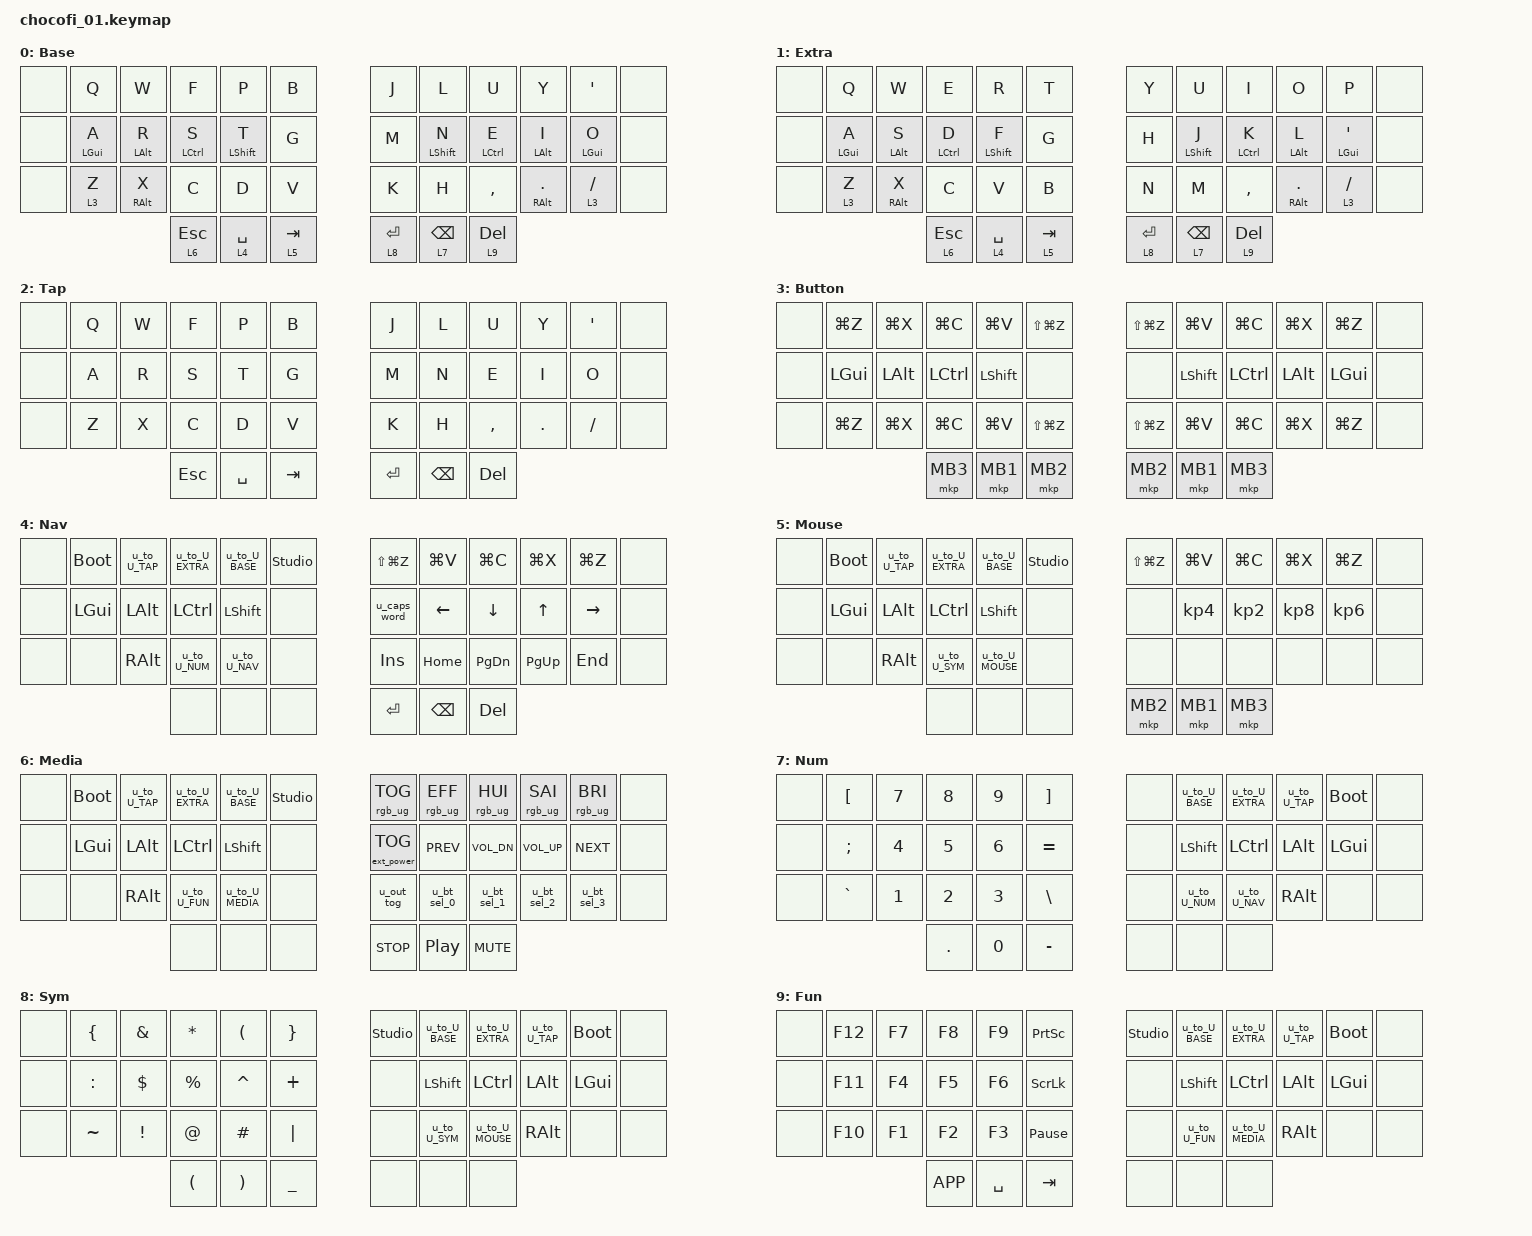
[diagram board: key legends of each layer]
#include <behaviors.dtsi>
#include <dt-bindings/zmk/keys.h>
#include <dt-bindings/zmk/bt.h>
#include <dt-bindings/zmk/outputs.h>
#include <dt-bindings/zmk/ext_power.h>

/ {
  keymap {
    compatible = "zmk,keymap";

    BASE {
      display-name = "Base";
      bindings = <
        &none  &kp Q  &kp W  &kp F  &kp P  &kp B       &kp J  &kp L  &kp U  &kp Y  &kp SQT  &none
        &none  &u_mt LGUI A  &u_mt LALT R  &u_mt LCTRL S  &u_mt LSHFT T  &kp G       &kp M  &u_mt LSHFT N  &u_mt LCTRL E  &u_mt LALT I  &u_mt LGUI O  &none
        &none  &u_lt 3 Z  &u_mt RALT X  &kp C  &kp D  &kp V       &kp K  &kp H  &kp COMMA  &u_mt RALT DOT  &u_lt 3 SLASH  &none
        &u_lt 6 ESC  &u_lt 4 SPACE  &u_lt 5 TAB       &u_lt 8 RET  &u_lt 7 BSPC  &u_lt 9 DEL
      >;
    };

    EXTRA {
      display-name = "Extra";
      bindings = <
        &none  &kp Q  &kp W  &kp E  &kp R  &kp T       &kp Y  &kp U  &kp I  &kp O  &kp P  &none
        &none  &u_mt LGUI A  &u_mt LALT S  &u_mt LCTRL D  &u_mt LSHFT F  &kp G       &kp H  &u_mt LSHFT J  &u_mt LCTRL K  &u_mt LALT L  &u_mt LGUI SQT  &none
        &none  &u_lt 3 Z  &u_mt RALT X  &kp C  &kp V  &kp B       &kp N  &kp M  &kp COMMA  &u_mt RALT DOT  &u_lt 3 SLASH  &none
        &u_lt 6 ESC  &u_lt 4 SPACE  &u_lt 5 TAB       &u_lt 8 RET  &u_lt 7 BSPC  &u_lt 9 DEL
      >;
    };

    TAP {
      display-name = "Tap";
      bindings = <
        &none  &kp Q  &kp W  &kp F  &kp P  &kp B       &kp J  &kp L  &kp U  &kp Y  &kp SQT  &none
        &none  &kp A  &kp R  &kp S  &kp T  &kp G       &kp M  &kp N  &kp E  &kp I  &kp O  &none
        &none  &kp Z  &kp X  &kp C  &kp D  &kp V       &kp K  &kp H  &kp COMMA  &kp DOT  &kp SLASH  &none
        &kp ESC  &kp SPACE  &kp TAB       &kp RET  &kp BSPC  &kp DEL
      >;
    };

    BUTTON {
      display-name = "Button";
      bindings = <
        &none  &kp LG(Z)  &kp LG(X)  &kp LG(C)  &kp LG(V)  &kp LS(LG(Z))       &kp LS(LG(Z))  &kp LG(V)  &kp LG(C)  &kp LG(X)  &kp LG(Z)  &none
        &none  &kp LGUI  &kp LALT  &kp LCTRL  &kp LSHFT  &none       &none  &kp LSHFT  &kp LCTRL  &kp LALT  &kp LGUI  &none
        &none  &kp LG(Z)  &kp LG(X)  &kp LG(C)  &kp LG(V)  &kp LS(LG(Z))       &kp LS(LG(Z))  &kp LG(V)  &kp LG(C)  &kp LG(X)  &kp LG(Z)  &none
        &mkp MB3  &mkp MB1  &mkp MB2       &mkp MB2  &mkp MB1  &mkp MB3
      >;
    };

    NAV {
      display-name = "Nav";
      bindings = <
        &none  &bootloader  &u_to_U_TAP  &u_to_U_EXTRA  &u_to_U_BASE  &studio_unlock       &kp LS(LG(Z))  &kp LG(V)  &kp LG(C)  &kp LG(X)  &kp LG(Z)  &none
        &none  &kp LGUI  &kp LALT  &kp LCTRL  &kp LSHFT  &none       &u_caps_word  &kp LEFT  &kp DOWN  &kp UP  &kp RIGHT  &none
        &none  &none  &kp RALT  &u_to_U_NUM  &u_to_U_NAV  &none       &kp INS  &kp HOME  &kp PG_DN  &kp PG_UP  &kp END  &none
        &none  &none  &none       &kp RET  &kp BSPC  &kp DEL
      >;
    };

    MOUSE {
      display-name = "Mouse";
      bindings = <
        &none  &bootloader  &u_to_U_TAP  &u_to_U_EXTRA  &u_to_U_BASE  &studio_unlock       &kp LS(LG(Z))  &kp LG(V)  &kp LG(C)  &kp LG(X)  &kp LG(Z)  &none
        &none  &kp LGUI  &kp LALT  &kp LCTRL  &kp LSHFT  &none       &none  &kp KP_N4  &kp KP_N2  &kp KP_N8  &kp KP_N6  &none
        &none  &none  &kp RALT  &u_to_U_SYM  &u_to_U_MOUSE  &none       &none  &none  &none  &none  &none  &none
        &none  &none  &none       &mkp MB2  &mkp MB1  &mkp MB3
      >;
    };

    MEDIA {
      display-name = "Media";
      bindings = <
        &none  &bootloader  &u_to_U_TAP  &u_to_U_EXTRA  &u_to_U_BASE  &studio_unlock       &rgb_ug RGB_TOG  &rgb_ug RGB_EFF  &rgb_ug RGB_HUI  &rgb_ug RGB_SAI  &rgb_ug RGB_BRI  &none
        &none  &kp LGUI  &kp LALT  &kp LCTRL  &kp LSHFT  &none       &ext_power EP_TOG  &kp C_PREV  &kp C_VOL_DN  &kp C_VOL_UP  &kp C_NEXT  &none
        &none  &none  &kp RALT  &u_to_U_FUN  &u_to_U_MEDIA  &none       &u_out_tog  &u_bt_sel_0  &u_bt_sel_1  &u_bt_sel_2  &u_bt_sel_3  &none
        &none  &none  &none       &kp C_STOP  &kp C_PP  &kp C_MUTE
      >;
    };

    NUM {
      display-name = "Num";
      bindings = <
        &none  &kp LBKT  &kp N7  &kp N8  &kp N9  &kp RBKT       &none  &u_to_U_BASE  &u_to_U_EXTRA  &u_to_U_TAP  &bootloader  &none
        &none  &kp SEMI  &kp N4  &kp N5  &kp N6  &kp EQUAL       &none  &kp LSHFT  &kp LCTRL  &kp LALT  &kp LGUI  &none
        &none  &kp GRAVE  &kp N1  &kp N2  &kp N3  &kp BSLH       &none  &u_to_U_NUM  &u_to_U_NAV  &kp RALT  &none  &none
        &kp DOT  &kp N0  &kp MINUS       &none  &none  &none
      >;
    };

    SYM {
      display-name = "Sym";
      bindings = <
        &none  &kp LBRC  &kp AMPS  &kp ASTRK  &kp LPAR  &kp RBRC       &studio_unlock  &u_to_U_BASE  &u_to_U_EXTRA  &u_to_U_TAP  &bootloader  &none
        &none  &kp COLON  &kp DLLR  &kp PRCNT  &kp CARET  &kp PLUS       &none  &kp LSHFT  &kp LCTRL  &kp LALT  &kp LGUI  &none
        &none  &kp TILDE  &kp EXCL  &kp AT  &kp HASH  &kp PIPE       &none  &u_to_U_SYM  &u_to_U_MOUSE  &kp RALT  &none  &none
        &kp LPAR  &kp RPAR  &kp UNDER       &none  &none  &none
      >;
    };

    FUN {
      display-name = "Fun";
      bindings = <
        &none  &kp F12  &kp F7  &kp F8  &kp F9  &kp PSCRN       &studio_unlock  &u_to_U_BASE  &u_to_U_EXTRA  &u_to_U_TAP  &bootloader  &none
        &none  &kp F11  &kp F4  &kp F5  &kp F6  &kp SLCK       &none  &kp LSHFT  &kp LCTRL  &kp LALT  &kp LGUI  &none
        &none  &kp F10  &kp F1  &kp F2  &kp F3  &kp PAUSE_BREAK       &none  &u_to_U_FUN  &u_to_U_MEDIA  &kp RALT  &none  &none
        &kp K_APP  &kp SPACE  &kp TAB       &none  &none  &none
      >;
    };

  };
};

/ {
  macros {
    u_macro_u_bt_sel_0: u_macro_u_bt_sel_0 {
      compatible = "zmk,behavior-macro";
      #binding-cells = <0>;
      wait-ms = <0>;
      bindings = <&bt BT_SEL 0 &bt BT_CLR>;
    };
  };
};

 / {
  behaviors {
    u_bt_sel_0: u_bt_sel_0 {
      compatible = "zmk,behavior-mod-morph";
      #binding-cells = <0>;
      bindings = <&bt BT_SEL 0>, <&u_macro_u_bt_sel_0>;
      mods = <(MOD_LSFT|MOD_RSFT)>;
    };
  };
};
/ {
  macros {
    u_macro_u_bt_sel_1: u_macro_u_bt_sel_1 {
      compatible = "zmk,behavior-macro";
      #binding-cells = <0>;
      wait-ms = <0>;
      bindings = <&bt BT_SEL 1 &bt BT_CLR>;
    };
  };
};

 / {
  behaviors {
    u_bt_sel_1: u_bt_sel_1 {
      compatible = "zmk,behavior-mod-morph";
      #binding-cells = <0>;
      bindings = <&bt BT_SEL 1>, <&u_macro_u_bt_sel_1>;
      mods = <(MOD_LSFT|MOD_RSFT)>;
    };
  };
};

/ {
  macros {
    u_macro_u_bt_sel_2: u_macro_u_bt_sel_2 {
      compatible = "zmk,behavior-macro";
      #binding-cells = <0>;
      wait-ms = <0>;
      bindings = <&bt BT_SEL 2 &bt BT_CLR>;
    };
  };
};

 / {
  behaviors {
    u_bt_sel_2: u_bt_sel_2 {
      compatible = "zmk,behavior-mod-morph";
      #binding-cells = <0>;
      bindings = <&bt BT_SEL 2>, <&u_macro_u_bt_sel_2>;
      mods = <(MOD_LSFT|MOD_RSFT)>;
    };
  };
};

/ {
  macros {
    u_macro_u_bt_sel_3: u_macro_u_bt_sel_3 {
      compatible = "zmk,behavior-macro";
      #binding-cells = <0>;
      wait-ms = <0>;
      bindings = <&bt BT_SEL 3 &bt BT_CLR>;
    };
  };
};

 / {
  behaviors {
    u_bt_sel_3: u_bt_sel_3 {
      compatible = "zmk,behavior-mod-morph";
      #binding-cells = <0>;
      bindings = <&bt BT_SEL 3>, <&u_macro_u_bt_sel_3>;
      mods = <(MOD_LSFT|MOD_RSFT)>;
    };
  };
};

/ {
  macros {
    u_macro_u_bt_sel_4: u_macro_u_bt_sel_4 {
      compatible = "zmk,behavior-macro";
      #binding-cells = <0>;
      wait-ms = <0>;
      bindings = <&bt BT_SEL 4 &bt BT_CLR>;
    };
  };
};

 / {
  behaviors {
    u_bt_sel_4: u_bt_sel_4 {
      compatible = "zmk,behavior-mod-morph";
      #binding-cells = <0>;
      bindings = <&bt BT_SEL 4>, <&u_macro_u_bt_sel_4>;
      mods = <(MOD_LSFT|MOD_RSFT)>;
    };
  };
};

/ { behaviors { u_out_tog: u_out_tog { compatible = "zmk,behavior-mod-morph"; #binding-cells = <0>; bindings = <&out OUT_TOG>, <&out OUT_USB>; mods = <(MOD_LSFT|MOD_RSFT)>; }; }; };

/ { behaviors { u_caps_word: u_caps_word { compatible = "zmk,behavior-mod-morph"; #binding-cells = <0>; bindings = <&caps_word>, <&kp CAPS>; mods = <(MOD_LSFT|MOD_RSFT)>; }; }; };

/ { behaviors { u_to_U_BASE: u_to_U_BASE { compatible = "zmk,behavior-tap-dance"; #binding-cells = <0>; tapping-term-ms = <200>; bindings = <&none>, <&to 0>; }; }; }; / { behaviors { u_to_U_EXTRA: u_to_U_EXTRA { compatible = "zmk,behavior-tap-dance"; #binding-cells = <0>; tapping-term-ms = <200>; bindings = <&none>, <&to 1>; }; }; }; / { behaviors { u_to_U_TAP: u_to_U_TAP { compatible = "zmk,behavior-tap-dance"; #binding-cells = <0>; tapping-term-ms = <200>; bindings = <&none>, <&to 2>; }; }; }; / { behaviors { u_to_U_BUTTON: u_to_U_BUTTON { compatible = "zmk,behavior-tap-dance"; #binding-cells = <0>; tapping-term-ms = <200>; bindings = <&none>, <&to 3>; }; }; }; / { behaviors { u_to_U_NAV: u_to_U_NAV { compatible = "zmk,behavior-tap-dance"; #binding-cells = <0>; tapping-term-ms = <200>; bindings = <&none>, <&to 4>; }; }; }; / { behaviors { u_to_U_MOUSE: u_to_U_MOUSE { compatible = "zmk,behavior-tap-dance"; #binding-cells = <0>; tapping-term-ms = <200>; bindings = <&none>, <&to 5>; }; }; }; / { behaviors { u_to_U_MEDIA: u_to_U_MEDIA { compatible = "zmk,behavior-tap-dance"; #binding-cells = <0>; tapping-term-ms = <200>; bindings = <&none>, <&to 6>; }; }; }; / { behaviors { u_to_U_NUM: u_to_U_NUM { compatible = "zmk,behavior-tap-dance"; #binding-cells = <0>; tapping-term-ms = <200>; bindings = <&none>, <&to 7>; }; }; }; / { behaviors { u_to_U_SYM: u_to_U_SYM { compatible = "zmk,behavior-tap-dance"; #binding-cells = <0>; tapping-term-ms = <200>; bindings = <&none>, <&to 8>; }; }; }; / { behaviors { u_to_U_FUN: u_to_U_FUN { compatible = "zmk,behavior-tap-dance"; #binding-cells = <0>; tapping-term-ms = <200>; bindings = <&none>, <&to 9>; }; }; };

/ { macros { u_macro_btn1: u_macro_btn1 { compatible = "zmk,behavior-macro"; #binding-cells = <0>; wait-ms = <0>; bindings = <&kp KP_SLASH &kp KP_N5>; }; }; };
/ { macros { u_macro_btn2: u_macro_btn2 { compatible = "zmk,behavior-macro"; #binding-cells = <0>; wait-ms = <0>; bindings = <&kp KP_MINUS &kp KP_N5>; }; }; };
/ { macros { u_macro_btn3: u_macro_btn3 { compatible = "zmk,behavior-macro"; #binding-cells = <0>; wait-ms = <0>; bindings = <&kp KP_ASTERISK &kp KP_N5>; }; }; };

/ {
  behaviors {
    u_mt: u_mt {
      compatible = "zmk,behavior-hold-tap";
      #binding-cells = <2>;
      tapping-term-ms = <200>;
      flavor = "tap-preferred";
      bindings = <&kp>, <&kp>;
    };
    u_lt: u_lt {
      compatible = "zmk,behavior-hold-tap";
      #binding-cells = <2>;
      tapping-term-ms = <200>;
      flavor = "tap-preferred";
      bindings = <&mo>, <&kp>;
    };
  };
};
